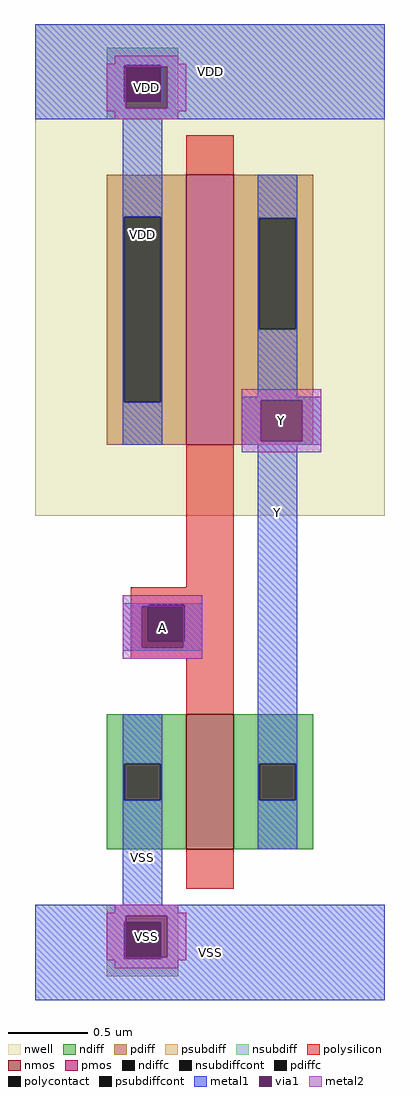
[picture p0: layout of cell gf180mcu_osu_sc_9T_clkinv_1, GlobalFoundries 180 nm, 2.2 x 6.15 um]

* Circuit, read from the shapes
.subckt gf180mcu_osu_sc_9T_clkinv_1 A Y VDD VSS
XM1 Y A VSS VSS nfet_03v3 w=0.85u l=0.3u
XM2 Y A VDD VDD pfet_03v3 w=1.7u l=0.3u
.ends

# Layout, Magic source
magic
tech gf180mcuC
magscale 1 10
<< nwell >>
rect 0 610 440 1230
<< nmos >>
rect 190 190 250 360
<< pmos >>
rect 190 700 250 1040
<< ndiff >>
rect 90 298 190 360
rect 90 252 112 298
rect 158 252 190 298
rect 90 190 190 252
rect 250 298 350 360
rect 250 252 282 298
rect 328 252 350 298
rect 250 190 350 252
<< pdiff >>
rect 90 987 190 1040
rect 90 753 112 987
rect 158 753 190 987
rect 90 700 190 753
rect 250 985 350 1040
rect 250 845 282 985
rect 328 845 350 985
rect 250 700 350 845
<< ndiffc >>
rect 112 252 158 298
rect 282 252 328 298
<< pdiffc >>
rect 112 753 158 987
rect 282 845 328 985
<< psubdiff >>
rect 90 98 180 120
rect 90 52 112 98
rect 158 52 180 98
rect 90 30 180 52
<< nsubdiff >>
rect 90 1178 180 1200
rect 90 1132 112 1178
rect 158 1132 180 1178
rect 90 1110 180 1132
<< psubdiffcont >>
rect 112 52 158 98
<< nsubdiffcont >>
rect 112 1132 158 1178
<< polysilicon >>
rect 190 1040 250 1090
rect 190 520 250 700
rect 120 498 250 520
rect 120 452 142 498
rect 188 452 250 498
rect 120 430 250 452
rect 190 360 250 430
rect 190 140 250 190
<< polycontact >>
rect 142 452 188 498
<< metal1 >>
rect 0 1178 440 1230
rect 0 1132 112 1178
rect 158 1176 440 1178
rect 0 1124 114 1132
rect 166 1124 440 1176
rect 0 1110 440 1124
rect 110 987 160 1110
rect 110 753 112 987
rect 158 753 160 987
rect 280 985 330 1040
rect 280 845 282 985
rect 328 845 330 985
rect 280 760 330 845
rect 110 700 160 753
rect 260 756 360 760
rect 260 704 284 756
rect 336 704 360 756
rect 260 700 360 704
rect 110 498 210 500
rect 110 496 142 498
rect 110 444 134 496
rect 188 452 210 498
rect 186 444 210 452
rect 110 440 210 444
rect 110 298 160 360
rect 110 252 112 298
rect 158 252 160 298
rect 110 120 160 252
rect 280 298 330 700
rect 280 252 282 298
rect 328 252 330 298
rect 280 190 330 252
rect 0 106 440 120
rect 0 98 114 106
rect 0 52 112 98
rect 166 54 440 106
rect 158 52 440 54
rect 0 0 440 52
<< via1 >>
rect 114 1132 158 1176
rect 158 1132 166 1176
rect 114 1124 166 1132
rect 284 704 336 756
rect 134 452 142 496
rect 142 452 186 496
rect 134 444 186 452
rect 114 98 166 106
rect 114 54 158 98
rect 158 54 166 98
<< metal2 >>
rect 100 1180 180 1190
rect 90 1176 190 1180
rect 90 1124 114 1176
rect 166 1124 190 1176
rect 90 1120 190 1124
rect 100 1110 180 1120
rect 260 756 360 770
rect 260 704 284 756
rect 336 704 360 756
rect 260 690 360 704
rect 110 496 210 510
rect 110 444 134 496
rect 186 444 210 496
rect 110 430 210 444
rect 100 110 180 120
rect 90 106 190 110
rect 90 54 114 106
rect 166 54 190 106
rect 90 50 190 54
rect 100 40 180 50
<< labels >>
rlabel metal2 s 100 1110 180 1190 4 VDD
port 6 nsew power bidirectional abutment
rlabel metal2 s 100 40 180 120 4 VSS
port 7 nsew ground bidirectional
rlabel metal2 s 110 430 210 510 4 A
port 1 nsew signal input
rlabel metal2 s 260 690 360 770 4 Y
port 2 nsew signal output
rlabel metal1 s 110 440 210 500 1 A
port 1 nsew signal input
rlabel metal2 s 90 1120 190 1180 1 VDD
port 6 nsew power bidirectional abutment
rlabel metal1 s 110 700 160 1230 1 VDD
port 6 nsew power bidirectional abutment
rlabel metal1 s 0 1110 440 1230 1 VDD
port 6 nsew power bidirectional abutment
rlabel metal2 s 90 50 190 110 1 VSS
port 7 nsew ground bidirectional
rlabel metal1 s 110 0 160 360 1 VSS
port 7 nsew ground bidirectional
rlabel metal1 s 0 0 440 120 1 VSS
port 7 nsew ground bidirectional
rlabel metal1 s 280 190 330 1040 1 Y
port 2 nsew signal output
rlabel metal1 s 260 700 360 760 1 Y
port 2 nsew signal output
<< properties >>
string FIXED_BBOX 0 0 440 1230
string GDS_END 174086
string GDS_FILE $PDKPATH/libs.ref/gf180mcu_osu_sc_9T/gds/gf180mcu_osu_sc_9T.gds
string GDS_START 170918
string LEFclass CORE
string LEFsite GF018hv5v_mcu_sc7
string LEFsymmetry X Y
<< end >>
